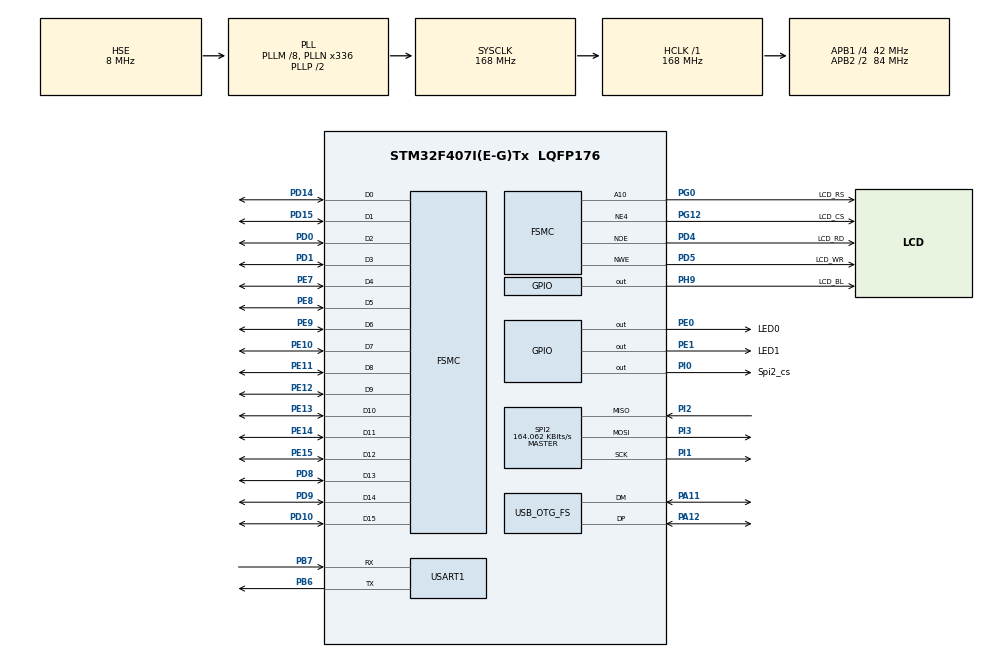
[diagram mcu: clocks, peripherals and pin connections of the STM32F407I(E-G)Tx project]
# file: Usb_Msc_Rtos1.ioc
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FATFS._FS_EXFAT=1
FATFS._FS_NORTC=1
FATFS._USE_LABEL=1
FATFS._USE_LFN=3
FATFS._USE_STRFUNC=1
FATFS._VOLUMES=2
FREERTOS.Tasks01=defaultTask,0,256,StartDefaultTask,Default,NULL,Dynamic,NULL,NULL
FREERTOS.configMINIMAL_STACK_SIZE=256
FREERTOS.configTOTAL_HEAP_SIZE=5120
FSMC.AddressSetupTime1=0xf
FSMC.DataSetupTime1=60
FSMC.ExtendedAddressSetupTime1=9
FSMC.ExtendedDataSetupTime1=9
FSMC.ExtendedMode1=FSMC_EXTENDED_MODE_ENABLE
Mcu.Family=STM32F4
Mcu.Name=STM32F407I(E-G)Tx
Mcu.Package=LQFP176
NVIC.OTG_FS_IRQn=true\:5\:0\:false\:false\:true\:true\:true\:true\:true
NVIC.PriorityGroup=NVIC_PRIORITYGROUP_4
NVIC.TIM1_UP_TIM10_IRQn=true\:0\:0\:true\:false\:true\:false\:false\:true\:true
NVIC.TimeBase=TIM1_UP_TIM10_IRQn
NVIC.TimeBaseIP=TIM1
PA11.Mode=Host_Only
PA11.Signal=USB_OTG_FS_DM
PA12.Mode=Host_Only
PA12.Signal=USB_OTG_FS_DP
PA13.Mode=Serial_Wire
PA13.Signal=SYS_JTMS-SWDIO
PA14.Mode=Serial_Wire
PA14.Signal=SYS_JTCK-SWCLK
PB6.Mode=Asynchronous
PB6.Signal=USART1_TX
PB7.Mode=Asynchronous
PB7.Signal=USART1_RX
PD0.Signal=FSMC_D2_DA2
PD1.Signal=FSMC_D3_DA3
PD10.Signal=FSMC_D15_DA15
PD14.Signal=FSMC_D0_DA0
PD15.Signal=FSMC_D1_DA1
PD4.GPIO_Label=LCD_RD
PD4.GPIO_PuPd=GPIO_PULLUP
PD4.Signal=FSMC_NOE
PD5.GPIO_Label=LCD_WR
PD5.GPIO_PuPd=GPIO_PULLUP
PD5.Signal=FSMC_NWE
PD8.Signal=FSMC_D13_DA13
PD9.Signal=FSMC_D14_DA14
PE0.GPIO_Label=LED0
PE0.GPIO_Speed=GPIO_SPEED_FREQ_HIGH
PE0.PinState=GPIO_PIN_SET
PE0.Signal=GPIO_Output
PE1.GPIO_Label=LED1
PE1.GPIO_Speed=GPIO_SPEED_FREQ_HIGH
PE1.PinState=GPIO_PIN_SET
PE1.Signal=GPIO_Output
PE10.Signal=FSMC_D7_DA7
PE11.Signal=FSMC_D8_DA8
PE12.Signal=FSMC_D9_DA9
PE13.Signal=FSMC_D10_DA10
PE14.Signal=FSMC_D11_DA11
PE15.Signal=FSMC_D12_DA12
PE7.Signal=FSMC_D4_DA4
PE8.Signal=FSMC_D5_DA5
PE9.Signal=FSMC_D6_DA6
PG0.GPIO_Label=LCD_RS
PG0.GPIO_PuPd=GPIO_PULLUP
PG0.Signal=FSMC_A10
PG12.GPIO_Label=LCD_CS
PG12.GPIO_PuPd=GPIO_PULLUP
PG12.Mode=NorPsramChipSelect4_1
PG12.Signal=FSMC_NE4
PH0-OSC_IN.Mode=HSE-External-Oscillator
PH0-OSC_IN.Signal=RCC_OSC_IN
PH1-OSC_OUT.Mode=HSE-External-Oscillator
PH1-OSC_OUT.Signal=RCC_OSC_OUT
PH9.GPIO_Label=LCD_BL
PH9.GPIO_Speed=GPIO_SPEED_FREQ_HIGH
PH9.PinState=GPIO_PIN_SET
PH9.Signal=GPIO_Output
PI0.GPIO_Label=Spi2_cs
PI0.GPIO_PuPd=GPIO_PULLUP
PI0.GPIO_Speed=GPIO_SPEED_FREQ_HIGH
PI0.PinState=GPIO_PIN_SET
PI0.Signal=GPIO_Output
PI1.Mode=Full_Duplex_Master
PI1.Signal=SPI2_SCK
PI2.Mode=Full_Duplex_Master
PI2.Signal=SPI2_MISO
PI3.Mode=Full_Duplex_Master
PI3.Signal=SPI2_MOSI
ProjectManager.HeapSize=0x128
ProjectManager.StackSize=0x256
ProjectManager.TargetToolchain=MDK-ARM V5.32
RCC.48MHZClocksFreq_Value=48000000
RCC.AHBFreq_Value=168000000
RCC.APB1CLKDivider=RCC_HCLK_DIV4
RCC.APB1Freq_Value=42000000
RCC.APB1TimFreq_Value=84000000
RCC.APB2CLKDivider=RCC_HCLK_DIV2
RCC.APB2Freq_Value=84000000
RCC.APB2TimFreq_Value=168000000
RCC.CortexFreq_Value=168000000
RCC.HCLKFreq_Value=168000000
RCC.HSE_VALUE=8000000
RCC.HSI_VALUE=16000000
RCC.LSE_VALUE=32768
RCC.PLLM=8
RCC.PLLN=336
RCC.PLLQ=7
RCC.SYSCLKFreq_VALUE=168000000
RCC.SYSCLKSource=RCC_SYSCLKSOURCE_PLLCLK
RCC.VCOOutputFreq_Value=336000000
SH.FSMC_A10.0=FSMC_A10,A10_1
SH.FSMC_D0_DA0.0=FSMC_D0,16b-d1
SH.FSMC_D10_DA10.0=FSMC_D10,16b-d1
SH.FSMC_D11_DA11.0=FSMC_D11,16b-d1
SH.FSMC_D12_DA12.0=FSMC_D12,16b-d1
SH.FSMC_D13_DA13.0=FSMC_D13,16b-d1
SH.FSMC_D14_DA14.0=FSMC_D14,16b-d1
SH.FSMC_D15_DA15.0=FSMC_D15,16b-d1
SH.FSMC_D1_DA1.0=FSMC_D1,16b-d1
SH.FSMC_D2_DA2.0=FSMC_D2,16b-d1
SH.FSMC_D3_DA3.0=FSMC_D3,16b-d1
SH.FSMC_D4_DA4.0=FSMC_D4,16b-d1
SH.FSMC_D5_DA5.0=FSMC_D5,16b-d1
SH.FSMC_D6_DA6.0=FSMC_D6,16b-d1
SH.FSMC_D7_DA7.0=FSMC_D7,16b-d1
SH.FSMC_D8_DA8.0=FSMC_D8,16b-d1
SH.FSMC_D9_DA9.0=FSMC_D9,16b-d1
SH.FSMC_NOE.0=FSMC_NOE,Lcd1
SH.FSMC_NWE.0=FSMC_NWE,Lcd1
SPI2.BaudRatePrescaler=SPI_BAUDRATEPRESCALER_256
SPI2.CLKPhase=SPI_PHASE_2EDGE
SPI2.CLKPolarity=SPI_POLARITY_HIGH
SPI2.CalculateBaudRate=164.062 KBits/s
SPI2.Direction=SPI_DIRECTION_2LINES
SPI2.Mode=SPI_MODE_MASTER
SPI2.VirtualType=VM_MASTER
USART1.VirtualMode=VM_ASYNC
USB_HOST.USBH_HandleTypeDef-MSC_FS=hUsbHostFS
USB_HOST.VirtualModeFS=Msc
USB_OTG_FS.VirtualMode=Host_Only
USB_OTG_FS.phy_itface=HCD_PHY_EMBEDDED
VP_FATFS_VS_Generic.Mode=User_defined
VP_FREERTOS_VS_CMSIS_V1.Mode=CMSIS_V1
VP_SYS_VS_tim1.Mode=TIM1
VP_USB_HOST_VS_USB_HOST_MSC_FS.Mode=MSC_FS
board=custom

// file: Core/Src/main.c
/* USER CODE BEGIN Header */
/**
  ******************************************************************************
  * @file           : main.c
  * @brief          : Main program body
  ******************************************************************************
  * @attention
  *
  * Copyright (c) 2024 STMicroelectronics.
  * All rights reserved.
  *
  * This software is licensed under terms that can be found in the LICENSE file
  * in the root directory of this software component.
  * If no LICENSE file comes with this software, it is provided AS-IS.
  *
  ******************************************************************************
  */
/* USER CODE END Header */
#include "main.h"
#include "cmsis_os.h"
#include "fatfs.h"
#include "spi.h"
#include "usart.h"
#include "usb_host.h"
#include "gpio.h"
#include "fsmc.h"

void SystemClock_Config(void);
void MX_FREERTOS_Init(void);

int main(void)
{

  /* MCU Configuration--------------------------------------------------------*/

  /* Reset of all peripherals, Initializes the Flash interface and the Systick. */
  HAL_Init();

  /* Configure the system clock */
  SystemClock_Config();

  /* Initialize all configured peripherals */
  MX_GPIO_Init();
  MX_USART1_UART_Init();
  MX_FATFS_Init();
  MX_FSMC_Init();
  MX_SPI2_Init();

  /* Call init function for freertos objects (in cmsis_os2.c) */
  MX_FREERTOS_Init();

  /* Start scheduler */
  osKernelStart();

  /* We should never get here as control is now taken by the scheduler */

  /* Infinite loop */
  while (1)
  {

  }
}

void SystemClock_Config(void)
{
  RCC_OscInitTypeDef RCC_OscInitStruct = {0};
  RCC_ClkInitTypeDef RCC_ClkInitStruct = {0};

  /** Configure the main internal regulator output voltage
  */
  __HAL_RCC_PWR_CLK_ENABLE();
  __HAL_PWR_VOLTAGESCALING_CONFIG(PWR_REGULATOR_VOLTAGE_SCALE1);

  /** Initializes the RCC Oscillators according to the specified parameters
  * in the RCC_OscInitTypeDef structure.
  */
  RCC_OscInitStruct.OscillatorType = RCC_OSCILLATORTYPE_HSE;
  RCC_OscInitStruct.HSEState = RCC_HSE_ON;
  RCC_OscInitStruct.PLL.PLLState = RCC_PLL_ON;
  RCC_OscInitStruct.PLL.PLLSource = RCC_PLLSOURCE_HSE;
  RCC_OscInitStruct.PLL.PLLM = 8;
  RCC_OscInitStruct.PLL.PLLN = 336;
  RCC_OscInitStruct.PLL.PLLP = RCC_PLLP_DIV2;
  RCC_OscInitStruct.PLL.PLLQ = 7;
  if (HAL_RCC_OscConfig(&RCC_OscInitStruct) != HAL_OK)
  {
    Error_Handler();
  }

  /** Initializes the CPU, AHB and APB buses clocks
  */
  RCC_ClkInitStruct.ClockType = RCC_CLOCKTYPE_HCLK|RCC_CLOCKTYPE_SYSCLK
                              |RCC_CLOCKTYPE_PCLK1|RCC_CLOCKTYPE_PCLK2;
  RCC_ClkInitStruct.SYSCLKSource = RCC_SYSCLKSOURCE_PLLCLK;
  RCC_ClkInitStruct.AHBCLKDivider = RCC_SYSCLK_DIV1;
  RCC_ClkInitStruct.APB1CLKDivider = RCC_HCLK_DIV4;
  RCC_ClkInitStruct.APB2CLKDivider = RCC_HCLK_DIV2;

  if (HAL_RCC_ClockConfig(&RCC_ClkInitStruct, FLASH_LATENCY_5) != HAL_OK)
  {
    Error_Handler();
  }
}

void HAL_TIM_PeriodElapsedCallback(TIM_HandleTypeDef *htim)
{
  if (htim->Instance == TIM1) {
    HAL_IncTick();
  }
}

void Error_Handler(void)
{
  __disable_irq();
  while (1)
  {
  }
}

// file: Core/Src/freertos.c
/* USER CODE BEGIN Header */
/**
  ******************************************************************************
  * File Name          : freertos.c
  * Description        : Code for freertos applications
  ******************************************************************************
  * @attention
  *
  * Copyright (c) 2024 STMicroelectronics.
  * All rights reserved.
  *
  * This software is licensed under terms that can be found in the LICENSE file
  * in the root directory of this software component.
  * If no LICENSE file comes with this software, it is provided AS-IS.
  *
  ******************************************************************************
  */
/* USER CODE END Header */

#include "FreeRTOS.h"
#include "task.h"
#include "main.h"
#include "cmsis_os.h"

/* USER CODE BEGIN Includes */
#include "lcd.h"
#include "delay.h"
#include "usart.h"

#include "usbh_def.h"  //USBH_HandleTypeDef

#include "norflash.h"
#include "usbh_core.h"
#include "usbh_msc.h"
#include "exfuns.h"
#include "malloc.h"
/* USER CODE END Includes */

/* USER CODE BEGIN Variables */
//lcd
uint8_t lcd_id[12];
uint16_t colors[12] = {WHITE, BLACK, BLUE, RED, MAGENTA, GREEN, CYAN, YELLOW, BRRED, GRAY, LGRAY, BROWN};
uint8_t color_index = 0;

//USBH_HandleTypeDef hUSBHost;    /* USB Host处理结构体
extern USBH_HandleTypeDef hUsbHostFS;    /* USB Host处理结构体 在usb_host.c中定义*/
uint8_t t = 0;
/* USER CODE END Variables */
osThreadId defaultTaskHandle;

void StartDefaultTask(void const * argument);

extern void MX_USB_HOST_Init(void);
void MX_FREERTOS_Init(void); /* (MISRA C 2004 rule 8.1) */

/* GetIdleTaskMemory prototype (linked to static allocation support) */
void vApplicationGetIdleTaskMemory( StaticTask_t **ppxIdleTaskTCBBuffer, StackType_t **ppxIdleTaskStackBuffer, uint32_t *pulIdleTaskStackSize );

/* USER CODE BEGIN GET_IDLE_TASK_MEMORY */
static StaticTask_t xIdleTaskTCBBuffer;
static StackType_t xIdleStack[configMINIMAL_STACK_SIZE];

void vApplicationGetIdleTaskMemory( StaticTask_t **ppxIdleTaskTCBBuffer, StackType_t **ppxIdleTaskStackBuffer, uint32_t *pulIdleTaskStackSize )
{
  *ppxIdleTaskTCBBuffer = &xIdleTaskTCBBuffer;
  *ppxIdleTaskStackBuffer = &xIdleStack[0];
  *pulIdleTaskStackSize = configMINIMAL_STACK_SIZE;
  /* place for user code */
}
/* USER CODE END GET_IDLE_TASK_MEMORY */

void MX_FREERTOS_Init(void) {

  /* Create the thread(s) */
  /* definition and creation of defaultTask */
  osThreadDef(defaultTask, StartDefaultTask, osPriorityNormal, 0, 256);
  defaultTaskHandle = osThreadCreate(osThread(defaultTask), NULL);

}

void StartDefaultTask(void const * argument)
{
  /* init code for USB_HOST */
  //MX_USB_HOST_Init();
  /* USER CODE BEGIN StartDefaultTask */
	//lcd init
	delay_init(168);                    // 延时初始化
	lcd_init();                             // 初始化LCD
  sprintf((char *)lcd_id, "LCD ID:%04X", lcddev.id);  // 将LCD ID打印到lcd_id数组

	//my_mem_init(SRAMIN);                /* 初始化内部SRAM内存池 */
	//my_mem_init(SRAMCCM);               /* 初始化内部SRAMCCM内存池 */

	//exfuns_init();                      /* 为fatfs相关变量申请内存 */
  /* Infinite loop */
  for(;;)
  {
    //lcd test

		lcd_clear(colors[color_index]);  //清屏

		lcd_show_string(10, 40, 240, 32, 32, "STM32", RED);
		lcd_show_string(10, 80, 240, 24, 24, "TFTLCD TEST", RED);
		lcd_show_string(10, 110, 240, 16, 16, "ATOM@ALIENTEK", RED);
		lcd_show_string(10, 130, 240, 16, 16, (char *)lcd_id, RED); // 显示LCD ID
		color_index++;

		if (color_index == 12){
				color_index = 0;
		}
		HAL_GPIO_TogglePin(LED0_GPIO_Port, LED0_Pin); // LED0闪烁
		osDelay(100);

		//USBH_Process(&hUsbHostFS);
		delay_ms(10);
		t++;

		if (t == 50)
		{
				t = 0;
				HAL_GPIO_TogglePin(LED0_GPIO_Port, LED0_Pin);
		}
  }
  /* USER CODE END StartDefaultTask */
}
